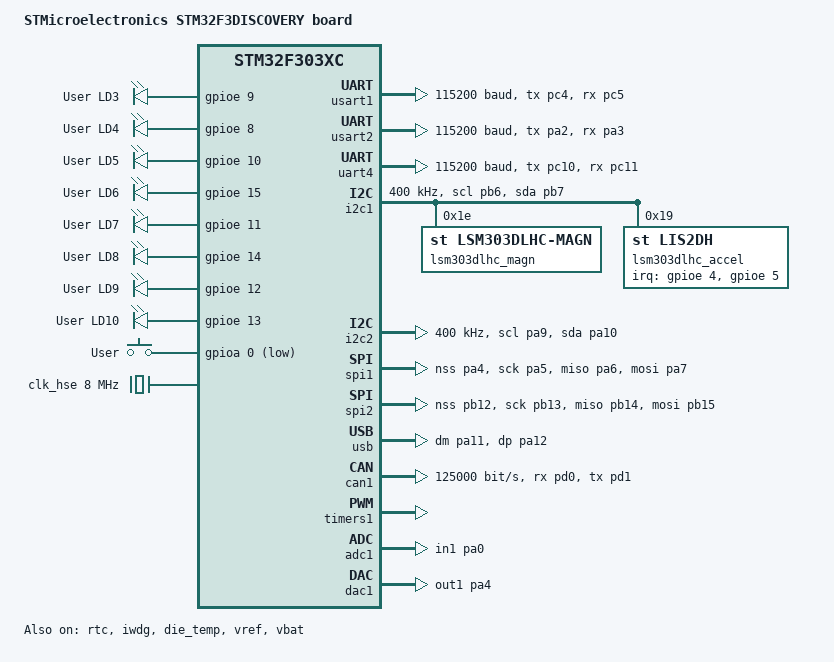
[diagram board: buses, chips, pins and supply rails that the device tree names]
/*
 * Copyright (c) 2017 I-SENSE group of ICCS
 *
 * SPDX-License-Identifier: Apache-2.0
 */

/dts-v1/;
#include <st/f3/stm32f303Xc.dtsi>
#include <st/f3/stm32f303v(b-c)tx-pinctrl.dtsi>
#include <zephyr/dt-bindings/input/input-event-codes.h>

/ {
	model = "STMicroelectronics STM32F3DISCOVERY board";
	compatible = "st,stm32f3discovery";

	chosen {
		zephyr,console = &usart1;
		zephyr,shell-uart = &usart1;
		zephyr,sram = &sram0;
		zephyr,flash = &flash0;
		zephyr,canbus = &can1;
	};

	leds {
		compatible = "gpio-leds";
		red_led_3: led_3 {
			gpios = <&gpioe 9 GPIO_ACTIVE_HIGH>;
			label = "User LD3";
		};
		blue_led_4: led_4 {
			gpios = <&gpioe 8 GPIO_ACTIVE_HIGH>;
			label = "User LD4";
		};
		orange_led_5: led_5 {
			gpios = <&gpioe 10 GPIO_ACTIVE_HIGH>;
			label = "User LD5";
		};
		green_led_6: led_6 {
			gpios = <&gpioe 15 GPIO_ACTIVE_HIGH>;
			label = "User LD6";
		};
		green_led_7: led_7 {
			gpios = <&gpioe 11 GPIO_ACTIVE_HIGH>;
			label = "User LD7";
		};
		orange_led_8: led_8 {
			gpios = <&gpioe 14 GPIO_ACTIVE_HIGH>;
			label = "User LD8";
		};
		blue_led_9: led_9 {
			gpios = <&gpioe 12 GPIO_ACTIVE_HIGH>;
			label = "User LD9";
		};
		red_led_10: led_10 {
			gpios = <&gpioe 13 GPIO_ACTIVE_HIGH>;
			label = "User LD10";
		};
	};

	gpio_keys {
		compatible = "gpio-keys";
		user_button: button {
			label = "User";
			gpios = <&gpioa 0 GPIO_ACTIVE_LOW>;
			zephyr,code = <INPUT_KEY_0>;
		};
	};

	aliases {
		led0 = &green_led_6;
		led1 = &green_led_7;
		sw0 = &user_button;
		magn0 = &lsm303dlhc_magn;
		watchdog0 = &iwdg;
		accel0 = &lsm303dlhc_accel;
		die-temp0 = &die_temp;
		volt-sensor0 = &vref;
		volt-sensor1 = &vbat;
	};
};

&clk_lsi {
	status = "okay";
};

&clk_hse {
	hse-bypass;
	clock-frequency = <DT_FREQ_M(8)>; /* STLink 8MHz clock */
	status = "okay";
};

&pll {
	prediv = <1>;
	mul = <9>;
	clocks = <&clk_hse>;
	status = "okay";
};

&rcc {
	clocks = <&pll>;
	clock-frequency = <DT_FREQ_M(72)>;
	ahb-prescaler = <1>;
	apb1-prescaler = <2>;
	apb2-prescaler = <1>;
};

&usart1 {
	pinctrl-0 = <&usart1_tx_pc4 &usart1_rx_pc5>;
	pinctrl-names = "default";
	current-speed = <115200>;
	status = "okay";
};

&usart2 {
	pinctrl-0 = <&usart2_tx_pa2 &usart2_rx_pa3>;
	pinctrl-names = "default";
	current-speed = <115200>;
	status = "okay";
};

&uart4 {
	pinctrl-0 = <&uart4_tx_pc10 &uart4_rx_pc11>;
	pinctrl-names = "default";
	current-speed = <115200>;
	status = "okay";
};

&i2c1 {
	pinctrl-0 = <&i2c1_scl_pb6 &i2c1_sda_pb7>;
	pinctrl-names = "default";
	status = "okay";
	clock-frequency = <I2C_BITRATE_FAST>;

	lsm303dlhc_magn: lsm303dlhc-magn@1e {
		compatible = "st,lsm303dlhc-magn";
		reg = <0x1e>;
	};

	lsm303dlhc_accel: lsm303dlhc-accel@19 {
		compatible = "st,lis2dh", "st,lsm303dlhc-accel";
		reg = <0x19>;
		irq-gpios = <&gpioe 4 GPIO_ACTIVE_HIGH>,
			  <&gpioe 5 GPIO_ACTIVE_HIGH>;
	};
};

&i2c2 {
	pinctrl-0 = <&i2c2_scl_pa9 &i2c2_sda_pa10>;
	pinctrl-names = "default";
	status = "okay";
	clock-frequency = <I2C_BITRATE_FAST>;
};

&spi1 {
	pinctrl-0 = <&spi1_nss_pa4 &spi1_sck_pa5
		     &spi1_miso_pa6 &spi1_mosi_pa7>;
	pinctrl-names = "default";
	status = "okay";
};

&spi2 {
	pinctrl-0 = <&spi2_nss_pb12 &spi2_sck_pb13
		     &spi2_miso_pb14 &spi2_mosi_pb15>;
	pinctrl-names = "default";
	status = "okay";
};

zephyr_udc0: &usb {
	pinctrl-0 = <&usb_dm_pa11 &usb_dp_pa12>;
	pinctrl-names = "default";
	status = "okay";
};

&rtc {
	clocks = <&rcc STM32_CLOCK_BUS_APB1 0x10000000>,
		 <&rcc STM32_SRC_LSI RTC_SEL(2)>;
	status = "okay";

	backup_regs {
		status = "okay";
	};
};

&can1 {
	pinctrl-0 = <&can_rx_pd0 &can_tx_pd1>;
	pinctrl-names = "default";
	status = "okay";
	bus-speed = <125000>;
};

&flash0 {

	partitions {
		compatible = "fixed-partitions";
		#address-cells = <1>;
		#size-cells = <1>;

		/* Set 6Kb of storage at the end of the 256Kb of flash */
		storage_partition: partition@3e800 {
			label = "storage";
			reg = <0x0003e800 DT_SIZE_K(6)>;
		};
	};
};

&iwdg {
	status = "okay";
};

&timers1 {
	st,prescaler = <10000>;
	status = "okay";
	pwm1: pwm {
		status = "okay";
		pinctrl-0 = <&tim1_ch1_pa8>;
		pinctrl-names = "default";
	};
};

&adc1 {
	pinctrl-0 = <&adc1_in1_pa0>;
	pinctrl-names = "default";
	st,adc-clock-source = <SYNC>;
	st,adc-prescaler = <2>;
	status = "okay";
};

&die_temp {
	status = "okay";
};

&dac1 {
	status = "okay";
	/* dac output pins(pa4,pa5,pa6) might conflict with spi1 pins */
	pinctrl-0 = <&dac_out1_pa4>;
	pinctrl-names = "default";
};

&dma1 {
	status = "okay";
};

&vref {
	status = "okay";
};

&vbat {
	status = "okay";
};
